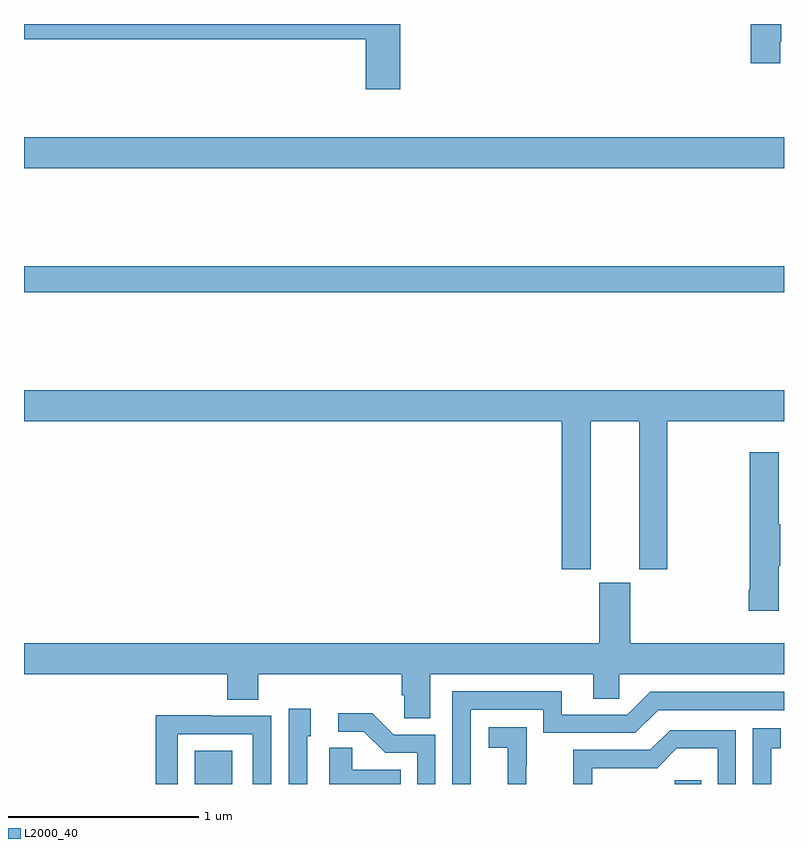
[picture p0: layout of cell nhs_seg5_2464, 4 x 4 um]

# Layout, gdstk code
import gdstk
lib = gdstk.Library(unit=1e-6, precision=1e-09)
def R(c, l, rs):  # rectangles x0, y0, x1, y1
    for r in rs: c.add(gdstk.rectangle(r[:2], r[2:], *l))
def P(c, l, *ps):  # polygons
    for p in ps: c.add(gdstk.Polygon(p, *l))
L2000_40 = (2000, 40)

nhs_seg5_2464 = lib.new_cell('nhs_seg5_2464')
R(nhs_seg5_2464, L2000_40, [(253.898,906.799,254.095,906.973), (256.425,906.799,256.565,906.819), (253,909.388,257,909.524), (253,910.04,257,910.204)])
P(nhs_seg5_2464, L2000_40, [(256.981,910.705),(256.986,910.705),(256.986,910.799),(256.826,910.799),(256.826,910.593),(256.981,910.593)],
  [(254.981,910.799),(253,910.799),(253,910.72),(254.798,910.72),(254.798,910.455),(254.981,910.455)],
  [(255.982,908.708),(256.238,908.708),(256.238,907.929),(256.386,907.929),(256.386,908.708),(257,908.708),(257,908.872),(253,908.872),(253,908.708),(255.83,908.708),(255.83,907.929),(255.982,907.929)],
  [(256.972,907.948),(256.98,907.948),(256.98,908.165),(256.972,908.165),(256.972,908.545),(256.819,908.545),(256.819,907.822),(256.814,907.822),(256.814,907.71),(256.972,907.71)],
  [(255.139,907.376),(255.995,907.376),(255.995,907.249),(256.134,907.249),(256.134,907.376),(257,907.376),(257,907.54),(256.192,907.54),(256.192,907.857),(256.028,907.857),(256.028,907.54),(253,907.54),(253,907.376),(254.069,907.376),(254.069,907.243),(254.234,907.243),(254.234,907.376),(254.987,907.376),(254.987,907.267),(255,907.267),(255,907.144),(255.139,907.144)],
  [(255.351,907.191),(255.732,907.191),(255.732,907.068),(256.218,907.068),(256.338,907.188),(257,907.188),(257,907.284),(256.296,907.284),(256.176,907.164),(255.829,907.164),(255.829,907.287),(255.255,907.287),(255.255,906.799),(255.351,906.799)],
  [(254.49,907.05),(254.509,907.05),(254.509,907.195),(254.394,907.195),(254.394,906.799),(254.49,906.799)],
  [(255.165,907.059),(254.946,907.059),(254.833,907.172),(254.655,907.172),(254.655,907.074),(254.789,907.074),(254.9,906.963),(255.069,906.963),(255.069,906.799),(255.165,906.799)],
  [(253.809,907.062),(254.205,907.062),(254.205,906.799),(254.301,906.799),(254.301,907.158),(253.985,907.158),(253.985,907.16),(253.693,907.16),(253.693,906.799),(253.809,906.799)],
  [(255.644,906.893),(255.645,906.893),(255.645,907.099),(255.447,907.099),(255.447,906.989),(255.545,906.989),(255.545,906.799),(255.644,906.799)],
  [(256.933,906.987),(256.982,906.987),(256.982,907.093),(256.836,907.093),(256.836,906.799),(256.933,906.799)],
  [(255.99,906.882),(256.332,906.882),(256.436,906.986),(256.65,906.986),(256.65,906.799),(256.746,906.799),(256.746,907.083),(256.4,907.083),(256.295,906.978),(255.892,906.978),(255.892,906.799),(255.99,906.799)],
  [(254.984,906.874),(254.727,906.874),(254.727,906.989),(254.606,906.989),(254.606,906.799),(254.984,906.799)])

lib.write_gds('nhs_seg5_2464.gds')
